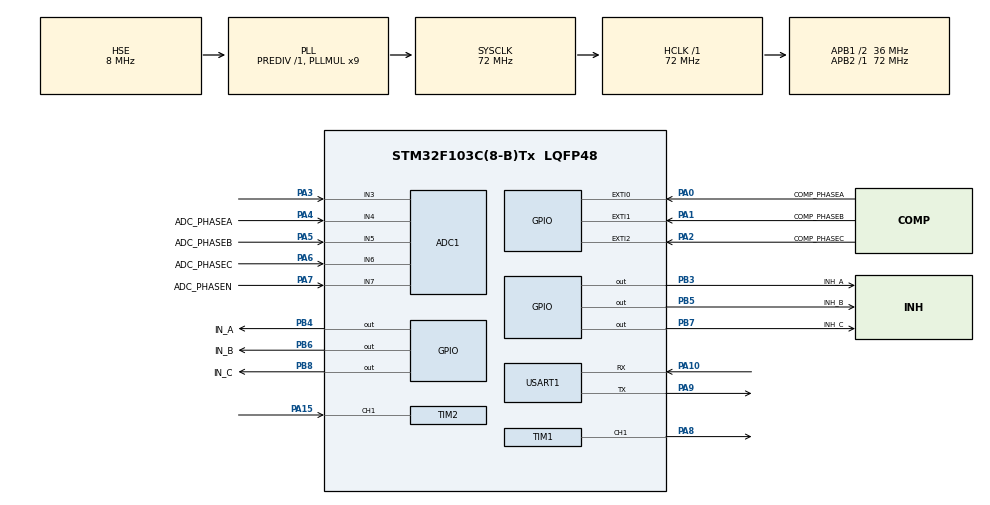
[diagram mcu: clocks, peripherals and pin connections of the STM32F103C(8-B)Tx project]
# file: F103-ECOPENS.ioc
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ADC1.Channel-3\#ChannelRegularConversion=ADC_CHANNEL_3
ADC1.ContinuousConvMode=ENABLE
ADC1.EnableAnalogWatchDog=false
ADC1.EnableInjectedConversion=ENABLE
ADC1.EnableRegularConversion=ENABLE
ADC1.InjNumberOfConversion=1
ADC1.NbrOfConversion=1
ADC1.NbrOfConversionFlag=1
ADC1.Rank-3\#ChannelRegularConversion=1
ADC1.SamplingTime-3\#ChannelRegularConversion=ADC_SAMPLETIME_1CYCLE_5
ADC1.master=1
Mcu.Family=STM32F1
Mcu.Name=STM32F103C(8-B)Tx
Mcu.Package=LQFP48
NVIC.ADC1_2_IRQn=true\:0\:0\:false\:false\:true\:true\:true
NVIC.EXTI0_IRQn=true\:0\:0\:false\:false\:true\:true\:true
NVIC.EXTI1_IRQn=true\:0\:0\:false\:false\:true\:true\:true
NVIC.EXTI2_IRQn=true\:0\:0\:false\:false\:true\:true\:true
NVIC.PriorityGroup=NVIC_PRIORITYGROUP_4
NVIC.TIM2_IRQn=true\:0\:0\:false\:false\:true\:true\:true
PA0-WKUP.GPIO_Label=COMP_PHASEA
PA0-WKUP.GPIO_ModeDefaultEXTI=GPIO_MODE_IT_RISING
PA0-WKUP.GPIO_PuPd=GPIO_PULLUP
PA0-WKUP.Signal=GPXTI0
PA1.GPIO_Label=COMP_PHASEB
PA1.GPIO_PuPd=GPIO_PULLUP
PA1.Signal=GPXTI1
PA10.Mode=Asynchronous
PA10.Signal=USART1_RX
PA15.Signal=S_TIM2_CH1_ETR
PA2.GPIO_Label=COMP_PHASEC
PA2.GPIO_PuPd=GPIO_PULLUP
PA2.Signal=GPXTI2
PA3.Signal=ADCx_IN3
PA4.GPIO_Label=ADC_PHASEA
PA4.Signal=ADCx_IN4
PA5.GPIO_Label=ADC_PHASEB
PA5.Signal=ADCx_IN5
PA6.GPIO_Label=ADC_PHASEC
PA6.Signal=ADCx_IN6
PA7.GPIO_Label=ADC_PHASEN
PA7.GPIO_Mode=GPIO_MODE_ANALOG
PA7.Signal=ADCx_IN7
PA8.Signal=S_TIM1_CH1
PA9.Mode=Asynchronous
PA9.Signal=USART1_TX
PB3.GPIO_Label=INH_A
PB3.Signal=GPIO_Output
PB4.GPIO_Label=IN_A
PB4.GPIO_ModeDefaultOutputPP=GPIO_MODE_OUTPUT_OD
PB4.GPIO_PuPd=GPIO_NOPULL
PB4.Signal=GPIO_Output
PB5.GPIO_Label=INH_B
PB5.Signal=GPIO_Output
PB6.GPIO_Label=IN_B
PB6.GPIO_ModeDefaultOutputPP=GPIO_MODE_OUTPUT_OD
PB6.Signal=GPIO_Output
PB7.GPIO_Label=INH_C
PB7.GPIO_ModeDefaultOutputPP=GPIO_MODE_OUTPUT_PP
PB7.GPIO_PuPd=GPIO_NOPULL
PB7.Signal=GPIO_Output
PB8.GPIO_Label=IN_C
PB8.GPIO_ModeDefaultOutputPP=GPIO_MODE_OUTPUT_OD
PB8.Signal=GPIO_Output
PD0-OSC_IN.Mode=HSE-External-Oscillator
PD0-OSC_IN.Signal=RCC_OSC_IN
PD1-OSC_OUT.Mode=HSE-External-Oscillator
PD1-OSC_OUT.Signal=RCC_OSC_OUT
ProjectManager.HeapSize=0x200
ProjectManager.StackSize=0x400
ProjectManager.TargetToolchain=STM32CubeIDE
RCC.ADCPresc=RCC_ADCPCLK2_DIV6
RCC.AHBFreq_Value=72000000
RCC.APB1CLKDivider=RCC_HCLK_DIV2
RCC.APB1Freq_Value=36000000
RCC.APB1TimFreq_Value=72000000
RCC.APB2Freq_Value=72000000
RCC.APB2TimFreq_Value=72000000
RCC.HCLKFreq_Value=72000000
RCC.PLLMUL=RCC_PLL_MUL9
RCC.PLLSourceVirtual=RCC_PLLSOURCE_HSE
RCC.SYSCLKFreq_VALUE=72000000
RCC.SYSCLKSource=RCC_SYSCLKSOURCE_PLLCLK
RCC.USBFreq_Value=72000000
SH.ADCx_IN3.0=ADC1_IN3,IN3
SH.ADCx_IN4.0=ADC1_IN4,IN4
SH.ADCx_IN5.0=ADC1_IN5,IN5
SH.ADCx_IN6.0=ADC1_IN6,IN6
SH.ADCx_IN7.0=ADC1_IN7,IN7
SH.S_TIM1_CH1.0=TIM1_CH1,PWM Generation1 CH1
SH.S_TIM2_CH1_ETR.0=TIM2_CH1,PWM_Input_1
TIM1.Channel-PWM\ Generation1\ CH1=TIM_CHANNEL_1
TIM1.Period=4800 - 1
TIM2.Prescaler=72 - 1
USART1.VirtualMode=VM_ASYNC
VP_SYS_VS_ND.Mode=No_Debug
VP_TIM1_VS_ClockSourceINT.Mode=Internal
VP_TIM2_VS_ClockSourceINT.Mode=Internal
board=custom

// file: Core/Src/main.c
/* USER CODE BEGIN Header */
/**
  ******************************************************************************
  * @file           : main.c
  * @brief          : Main program body
  ******************************************************************************
  * @attention
  *
  * <h2><center>&copy; Copyright (c) 2020 STMicroelectronics.
  * All rights reserved.</center></h2>
  *
  * This software component is licensed by ST under BSD 3-Clause license,
  * the "License"; You may not use this file except in compliance with the
  * License. You may obtain a copy of the License at:
  *                        opensource.org/licenses/BSD-3-Clause
  *
  ******************************************************************************
  */
/* USER CODE END Header */
#include "main.h"

/* USER CODE BEGIN Includes */
#include <stdbool.h>
/* USER CODE END Includes */

/* USER CODE BEGIN PTD */
typedef enum {
	PHASE_A, PHASE_B, PHASE_C
} PHASE;
/* USER CODE END PTD */

/* USER CODE BEGIN PD */
#define map(x,in_min,in_max,out_min,out_max) ( (x-in_min) * (out_max-out_min) / (in_max-in_min) + out_min )
#define constrain(nilaix,bawah,atas) ( (nilaix)<(bawah) ? (bawah) : ( (nilaix)>(atas) ? (atas) : (nilaix) ) )
#define FALLING 0
#define RISING 1
#define delaycomp for(int i=0; i<100; i++)
#define ADC_PHASE_A 1
#define ADC_PHASE_B 2
#define ADC_PHASE_C 3
#define ADC_NEUTRAL_POINT 4
/* USER CODE END PD */

ADC_HandleTypeDef hadc1;

TIM_HandleTypeDef htim1;
TIM_HandleTypeDef htim2;

UART_HandleTypeDef huart1;

/* USER CODE BEGIN PV */
uint16_t ADCVal[5];
uint32_t offsetValue = 2500;
//uint32_t integralBEMFA = 0, integralBEMFB = 0, integralBEMFC = 0;
static uint32_t integralBEMF = 0;
static uint8_t step = 1;
/* USER CODE END PV */

void SystemClock_Config(void);
static void MX_GPIO_Init(void);
static void MX_ADC1_Init(void);
static void MX_TIM1_Init(void);
static void MX_TIM2_Init(void);
static void MX_USART1_UART_Init(void);
/* USER CODE BEGIN PFP */
void outPWM(TIM_HandleTypeDef *htim, uint32_t channel, uint16_t dutyCycle){
	dutyCycle = map(dutyCycle, 0, 0xFFFF, 0, 4800 - 1);
	__HAL_TIM_SET_COMPARE(htim, channel, dutyCycle);
}

void startMotor(){
	//Align Mode
	outPWM(&htim1, TIM_CHANNEL_1, 0xBFFF);
	//phase a floating, phase b gnd, phase c pwm
	//CH->BL
	HAL_GPIO_WritePin(INH_C_GPIO_Port, INH_C_Pin, GPIO_PIN_SET); //INH_C is HIGH, IC Active Mode
	HAL_GPIO_WritePin(INH_A_GPIO_Port, INH_A_Pin, GPIO_PIN_RESET); //INH_A connected to ground, IC A Sleep Mode
	HAL_GPIO_WritePin(IN_B_GPIO_Port, IN_B_Pin, GPIO_PIN_SET); //IN_B connected to ground
	HAL_GPIO_WritePin(INH_B_GPIO_Port, INH_B_Pin, GPIO_PIN_SET); //INH_B is high, IC B Active Mode
	HAL_Delay(250);

	//phase a pwm, phase b gnd, phase c floating
	//AH->BL
	HAL_GPIO_WritePin(IN_A_GPIO_Port, IN_A_Pin, GPIO_PIN_RESET); //IN_A connected to ground, PWM Mode
	HAL_GPIO_WritePin(INH_A_GPIO_Port, INH_A_Pin, GPIO_PIN_SET); //INH_A is HIGH, IC A Active Mode
	HAL_GPIO_WritePin(INH_C_GPIO_Port, INH_C_Pin, GPIO_PIN_RESET); //INH_C connected to ground, IC C Sleep Mode
	HAL_Delay(250);
}
void detectZeroCross(PHASE phase, bool mode){
	//Initialize pin for external interrupt from comparator output
	static GPIO_InitTypeDef GPIO_InitStruct;
	GPIO_InitStruct.Mode = (mode == RISING ? GPIO_MODE_IT_RISING : GPIO_MODE_IT_FALLING); //Select Interrupt for back emf, rising or falling
	GPIO_InitStruct.Pin = (phase == PHASE_A ? COMP_PHASEA_Pin : phase == PHASE_B ? COMP_PHASEB_Pin : COMP_PHASEC_Pin);
	HAL_GPIO_Init(GPIOA, &GPIO_InitStruct);

	HAL_ADC_Stop_IT(&hadc1);
	static ADC_ChannelConfTypeDef sConfig;

	switch(phase){
	case PHASE_A:
		sConfig.Channel = ADC_CHANNEL_4;
		HAL_NVIC_DisableIRQ(COMP_PHASEB_EXTI_IRQn);
		HAL_NVIC_DisableIRQ(COMP_PHASEC_EXTI_IRQn);
		delaycomp;
		HAL_NVIC_EnableIRQ(COMP_PHASEA_EXTI_IRQn);
		break;

	case PHASE_B:
		sConfig.Channel = ADC_CHANNEL_5;
		HAL_NVIC_DisableIRQ(COMP_PHASEA_EXTI_IRQn);
		HAL_NVIC_DisableIRQ(COMP_PHASEC_EXTI_IRQn);
		delaycomp;
		HAL_NVIC_EnableIRQ(COMP_PHASEB_EXTI_IRQn);
		break;

	case PHASE_C:
		sConfig.Channel = ADC_CHANNEL_6;
		HAL_NVIC_DisableIRQ(COMP_PHASEA_EXTI_IRQn);
		HAL_NVIC_DisableIRQ(COMP_PHASEB_EXTI_IRQn);
		delaycomp;
		HAL_NVIC_EnableIRQ(COMP_PHASEC_EXTI_IRQn);
		break;
	}
	HAL_ADC_ConfigChannel(&hadc1, &sConfig);
}
void phase(int step){
	switch(step){
	//INH_X use open drain, SET = GND, RESET = FLOATING
	//IN_X use push pull, SET = HIGH, RESET = LOW
	case 1:
		//phase b floating, phase c ground, phase a pwm
		//AH->CL, B READ BACK EMF (RISING)
		HAL_GPIO_WritePin(INH_B_GPIO_Port, INH_B_Pin, GPIO_PIN_RESET); //INH_B connected to ground, IC B Sleep Mode
		HAL_GPIO_WritePin(IN_C_GPIO_Port, IN_C_Pin, GPIO_PIN_SET); //IN_C connected to ground
		HAL_GPIO_WritePin(INH_C_GPIO_Port, INH_C_Pin, GPIO_PIN_SET); //INH_C is high, IC C Active Mode
		detectZeroCross(PHASE_B, RISING);
		break;

	case 2:
		//phase a floating, phase b pwm, phase c ground
		//BH->CL, A READ BACK EMF (FALLING)
		HAL_GPIO_WritePin(INH_A_GPIO_Port, INH_A_Pin, GPIO_PIN_RESET); //INH_A connnected to ground, IC A Sleep Mode
		HAL_GPIO_WritePin(IN_B_GPIO_Port, IN_B_Pin, GPIO_PIN_RESET); //IN_B PWM Mode
		HAL_GPIO_WritePin(IN_B_GPIO_Port, INH_B_Pin, GPIO_PIN_SET); //INH_B high, IC B Active Mode
		detectZeroCross(PHASE_A, FALLING);
		break;

	case 3:
		//phase a gnd, phase b pwm, phase c floating
		//BH->AL, C READ BACK EMF (RISING)
		HAL_GPIO_WritePin(IN_A_GPIO_Port, IN_A_Pin, GPIO_PIN_SET); //IN_A connected to ground
		HAL_GPIO_WritePin(IN_A_GPIO_Port, INH_A_Pin, GPIO_PIN_SET); //INH_A is high, IC A Active Mode
		HAL_GPIO_WritePin(INH_C_GPIO_Port, INH_C_Pin, GPIO_PIN_RESET); //INH_C connected to ground. IC C Sleep Mode
		detectZeroCross(PHASE_C, RISING);
		break;

	case 4:
		//phase a gnd, phase b floating, phase c pwm
		//CH->AL, B READ BACK EMF (FALLING)
		HAL_GPIO_WritePin(INH_B_GPIO_Port, INH_B_Pin, GPIO_PIN_RESET); //INH_B connected to ground, IC B Sleep Mode
		HAL_GPIO_WritePin(IN_C_GPIO_Port, IN_C_Pin, GPIO_PIN_RESET); //IN_C floating, pwm mode
		HAL_GPIO_WritePin(INH_C_GPIO_Port, INH_C_Pin, GPIO_PIN_SET); //INH_C is high, IC C Active Mode
		detectZeroCross(PHASE_B, FALLING);
		break;
	case 5:
		//phase a floating, phase b gnd, phase c pwm
		//CH->BL, A READ BACK EMF (RISING)
		HAL_GPIO_WritePin(INH_A_GPIO_Port, INH_A_Pin, GPIO_PIN_RESET); //INH_A connected to ground, IC A Sleep Mode
		HAL_GPIO_WritePin(IN_B_GPIO_Port, IN_B_Pin, GPIO_PIN_SET); //IN_B connected to ground
		HAL_GPIO_WritePin(INH_B_GPIO_Port, INH_B_Pin, GPIO_PIN_SET); //INH_B is high, IC B Active Mode
		detectZeroCross(PHASE_A, RISING);
		break;

	case 6:
		//phase a pwm, phase b gnd, phase c floating
		//AH->BL, C READ BACK EMF (FALLING)
		HAL_GPIO_WritePin(IN_A_GPIO_Port, IN_A_Pin, GPIO_PIN_RESET); //IN_A connected to ground, PWM Mode
		HAL_GPIO_WritePin(INH_A_GPIO_Port, INH_A_Pin, GPIO_PIN_SET); //INH_A is HIGH, IC A Active Mode
		HAL_GPIO_WritePin(INH_C_GPIO_Port, INH_C_Pin, GPIO_PIN_RESET); //INH_C connected to ground, IC C Sleep Mode
		detectZeroCross(PHASE_C, FALLING);
		break;

	}
}
/* USER CODE END PFP */

int main(void)
{

  /* MCU Configuration--------------------------------------------------------*/

  /* Reset of all peripherals, Initializes the Flash interface and the Systick. */
  HAL_Init();

  /* Configure the system clock */
  SystemClock_Config();

  /* Initialize all configured peripherals */
  MX_GPIO_Init();
  MX_ADC1_Init();
  MX_TIM1_Init();
  MX_TIM2_Init();
  MX_USART1_UART_Init();
  /* USER CODE BEGIN 2 */
  HAL_NVIC_DisableIRQ(COMP_PHASEA_EXTI_IRQn);
  HAL_NVIC_DisableIRQ(COMP_PHASEB_EXTI_IRQn);
  HAL_NVIC_DisableIRQ(COMP_PHASEC_EXTI_IRQn);
  HAL_UART_Transmit(&huart1, "Mulai\r\n", 7, 10);
  HAL_TIM_PWM_Start(&htim1, TIM_CHANNEL_1);
  HAL_ADCEx_Calibration_Start(&hadc1);
  //HAL_ADC_Start_DMA(&hadc1, (uint32_t*)ADCVal, 5);
  startMotor();
  phase(step);
  /* USER CODE END 2 */

  /* Infinite loop */
  /* USER CODE BEGIN WHILE */
  while (1)
  {
	  if(integralBEMF >= offsetValue){
		  integralBEMF = 0;
		  step += 1;
		  if(step > 6) step = 1;
		  phase(step);
	  }
    /* USER CODE END WHILE */

  }
}

void SystemClock_Config(void)
{
  RCC_OscInitTypeDef RCC_OscInitStruct = {0};
  RCC_ClkInitTypeDef RCC_ClkInitStruct = {0};
  RCC_PeriphCLKInitTypeDef PeriphClkInit = {0};

  /** Initializes the RCC Oscillators according to the specified parameters
  * in the RCC_OscInitTypeDef structure.
  */
  RCC_OscInitStruct.OscillatorType = RCC_OSCILLATORTYPE_HSE;
  RCC_OscInitStruct.HSEState = RCC_HSE_ON;
  RCC_OscInitStruct.HSEPredivValue = RCC_HSE_PREDIV_DIV1;
  RCC_OscInitStruct.HSIState = RCC_HSI_ON;
  RCC_OscInitStruct.PLL.PLLState = RCC_PLL_ON;
  RCC_OscInitStruct.PLL.PLLSource = RCC_PLLSOURCE_HSE;
  RCC_OscInitStruct.PLL.PLLMUL = RCC_PLL_MUL9;
  if (HAL_RCC_OscConfig(&RCC_OscInitStruct) != HAL_OK)
  {
    Error_Handler();
  }
  /** Initializes the CPU, AHB and APB buses clocks
  */
  RCC_ClkInitStruct.ClockType = RCC_CLOCKTYPE_HCLK|RCC_CLOCKTYPE_SYSCLK
                              |RCC_CLOCKTYPE_PCLK1|RCC_CLOCKTYPE_PCLK2;
  RCC_ClkInitStruct.SYSCLKSource = RCC_SYSCLKSOURCE_PLLCLK;
  RCC_ClkInitStruct.AHBCLKDivider = RCC_SYSCLK_DIV1;
  RCC_ClkInitStruct.APB1CLKDivider = RCC_HCLK_DIV2;
  RCC_ClkInitStruct.APB2CLKDivider = RCC_HCLK_DIV1;

  if (HAL_RCC_ClockConfig(&RCC_ClkInitStruct, FLASH_LATENCY_2) != HAL_OK)
  {
    Error_Handler();
  }
  PeriphClkInit.PeriphClockSelection = RCC_PERIPHCLK_ADC;
  PeriphClkInit.AdcClockSelection = RCC_ADCPCLK2_DIV6;
  if (HAL_RCCEx_PeriphCLKConfig(&PeriphClkInit) != HAL_OK)
  {
    Error_Handler();
  }
}

static void MX_ADC1_Init(void)
{

  ADC_ChannelConfTypeDef sConfig = {0};

  /** Common config
  */
  hadc1.Instance = ADC1;
  hadc1.Init.ScanConvMode = ADC_SCAN_DISABLE;
  hadc1.Init.ContinuousConvMode = ENABLE;
  hadc1.Init.DiscontinuousConvMode = DISABLE;
  hadc1.Init.ExternalTrigConv = ADC_SOFTWARE_START;
  hadc1.Init.DataAlign = ADC_DATAALIGN_RIGHT;
  hadc1.Init.NbrOfConversion = 1;
  if (HAL_ADC_Init(&hadc1) != HAL_OK)
  {
    Error_Handler();
  }
  /** Configure Regular Channel
  */
  sConfig.Channel = ADC_CHANNEL_3;
  sConfig.Rank = ADC_REGULAR_RANK_1;
  sConfig.SamplingTime = ADC_SAMPLETIME_1CYCLE_5;
  if (HAL_ADC_ConfigChannel(&hadc1, &sConfig) != HAL_OK)
  {
    Error_Handler();
  }

}

static void MX_TIM1_Init(void)
{

  TIM_ClockConfigTypeDef sClockSourceConfig = {0};
  TIM_MasterConfigTypeDef sMasterConfig = {0};
  TIM_OC_InitTypeDef sConfigOC = {0};
  TIM_BreakDeadTimeConfigTypeDef sBreakDeadTimeConfig = {0};

  htim1.Instance = TIM1;
  htim1.Init.Prescaler = 0;
  htim1.Init.CounterMode = TIM_COUNTERMODE_UP;
  htim1.Init.Period = 4800 - 1;
  htim1.Init.ClockDivision = TIM_CLOCKDIVISION_DIV1;
  htim1.Init.RepetitionCounter = 0;
  htim1.Init.AutoReloadPreload = TIM_AUTORELOAD_PRELOAD_DISABLE;
  if (HAL_TIM_Base_Init(&htim1) != HAL_OK)
  {
    Error_Handler();
  }
  sClockSourceConfig.ClockSource = TIM_CLOCKSOURCE_INTERNAL;
  if (HAL_TIM_ConfigClockSource(&htim1, &sClockSourceConfig) != HAL_OK)
  {
    Error_Handler();
  }
  if (HAL_TIM_PWM_Init(&htim1) != HAL_OK)
  {
    Error_Handler();
  }
  sMasterConfig.MasterOutputTrigger = TIM_TRGO_RESET;
  sMasterConfig.MasterSlaveMode = TIM_MASTERSLAVEMODE_DISABLE;
  if (HAL_TIMEx_MasterConfigSynchronization(&htim1, &sMasterConfig) != HAL_OK)
  {
    Error_Handler();
  }
  sConfigOC.OCMode = TIM_OCMODE_PWM1;
  sConfigOC.Pulse = 0;
  sConfigOC.OCPolarity = TIM_OCPOLARITY_HIGH;
  sConfigOC.OCNPolarity = TIM_OCNPOLARITY_HIGH;
  sConfigOC.OCFastMode = TIM_OCFAST_DISABLE;
  sConfigOC.OCIdleState = TIM_OCIDLESTATE_RESET;
  sConfigOC.OCNIdleState = TIM_OCNIDLESTATE_RESET;
  if (HAL_TIM_PWM_ConfigChannel(&htim1, &sConfigOC, TIM_CHANNEL_1) != HAL_OK)
  {
    Error_Handler();
  }
  sBreakDeadTimeConfig.OffStateRunMode = TIM_OSSR_DISABLE;
  sBreakDeadTimeConfig.OffStateIDLEMode = TIM_OSSI_DISABLE;
  sBreakDeadTimeConfig.LockLevel = TIM_LOCKLEVEL_OFF;
  sBreakDeadTimeConfig.DeadTime = 0;
  sBreakDeadTimeConfig.BreakState = TIM_BREAK_DISABLE;
  sBreakDeadTimeConfig.BreakPolarity = TIM_BREAKPOLARITY_HIGH;
  sBreakDeadTimeConfig.AutomaticOutput = TIM_AUTOMATICOUTPUT_DISABLE;
  if (HAL_TIMEx_ConfigBreakDeadTime(&htim1, &sBreakDeadTimeConfig) != HAL_OK)
  {
    Error_Handler();
  }
  HAL_TIM_MspPostInit(&htim1);

}

static void MX_TIM2_Init(void)
{

  TIM_ClockConfigTypeDef sClockSourceConfig = {0};
  TIM_SlaveConfigTypeDef sSlaveConfig = {0};
  TIM_IC_InitTypeDef sConfigIC = {0};
  TIM_MasterConfigTypeDef sMasterConfig = {0};

  htim2.Instance = TIM2;
  htim2.Init.Prescaler = 72 - 1;
  htim2.Init.CounterMode = TIM_COUNTERMODE_UP;
  htim2.Init.Period = 65535;
  htim2.Init.ClockDivision = TIM_CLOCKDIVISION_DIV1;
  htim2.Init.AutoReloadPreload = TIM_AUTORELOAD_PRELOAD_DISABLE;
  if (HAL_TIM_Base_Init(&htim2) != HAL_OK)
  {
    Error_Handler();
  }
  sClockSourceConfig.ClockSource = TIM_CLOCKSOURCE_INTERNAL;
  if (HAL_TIM_ConfigClockSource(&htim2, &sClockSourceConfig) != HAL_OK)
  {
    Error_Handler();
  }
  if (HAL_TIM_IC_Init(&htim2) != HAL_OK)
  {
    Error_Handler();
  }
  sSlaveConfig.SlaveMode = TIM_SLAVEMODE_RESET;
  sSlaveConfig.InputTrigger = TIM_TS_TI1FP1;
  sSlaveConfig.TriggerPolarity = TIM_INPUTCHANNELPOLARITY_RISING;
  sSlaveConfig.TriggerPrescaler = TIM_ICPSC_DIV1;
  sSlaveConfig.TriggerFilter = 0;
  if (HAL_TIM_SlaveConfigSynchro(&htim2, &sSlaveConfig) != HAL_OK)
  {
    Error_Handler();
  }
  sConfigIC.ICPolarity = TIM_INPUTCHANNELPOLARITY_RISING;
  sConfigIC.ICSelection = TIM_ICSELECTION_DIRECTTI;
  sConfigIC.ICPrescaler = TIM_ICPSC_DIV1;
  sConfigIC.ICFilter = 0;
  if (HAL_TIM_IC_ConfigChannel(&htim2, &sConfigIC, TIM_CHANNEL_1) != HAL_OK)
  {
    Error_Handler();
  }
  sConfigIC.ICPolarity = TIM_INPUTCHANNELPOLARITY_FALLING;
  sConfigIC.ICSelection = TIM_ICSELECTION_INDIRECTTI;
  if (HAL_TIM_IC_ConfigChannel(&htim2, &sConfigIC, TIM_CHANNEL_2) != HAL_OK)
  {
    Error_Handler();
  }
  sMasterConfig.MasterOutputTrigger = TIM_TRGO_RESET;
  sMasterConfig.MasterSlaveMode = TIM_MASTERSLAVEMODE_DISABLE;
  if (HAL_TIMEx_MasterConfigSynchronization(&htim2, &sMasterConfig) != HAL_OK)
  {
    Error_Handler();
  }

}

static void MX_USART1_UART_Init(void)
{

  huart1.Instance = USART1;
  huart1.Init.BaudRate = 115200;
  huart1.Init.WordLength = UART_WORDLENGTH_8B;
  huart1.Init.StopBits = UART_STOPBITS_1;
  huart1.Init.Parity = UART_PARITY_NONE;
  huart1.Init.Mode = UART_MODE_TX_RX;
  huart1.Init.HwFlowCtl = UART_HWCONTROL_NONE;
  huart1.Init.OverSampling = UART_OVERSAMPLING_16;
  if (HAL_UART_Init(&huart1) != HAL_OK)
  {
    Error_Handler();
  }

}

static void MX_GPIO_Init(void)
{
  GPIO_InitTypeDef GPIO_InitStruct = {0};

  /* GPIO Ports Clock Enable */
  __HAL_RCC_GPIOD_CLK_ENABLE();
  __HAL_RCC_GPIOA_CLK_ENABLE();
  __HAL_RCC_GPIOB_CLK_ENABLE();

  /*Configure GPIO pin Output Level */
  HAL_GPIO_WritePin(GPIOB, INH_A_Pin|IN_A_Pin|INH_B_Pin|IN_B_Pin
                          |INH_C_Pin|IN_C_Pin, GPIO_PIN_RESET);

  /*Configure GPIO pins : COMP_PHASEA_Pin COMP_PHASEB_Pin COMP_PHASEC_Pin */
  GPIO_InitStruct.Pin = COMP_PHASEA_Pin|COMP_PHASEB_Pin|COMP_PHASEC_Pin;
  GPIO_InitStruct.Mode = GPIO_MODE_IT_RISING;
  GPIO_InitStruct.Pull = GPIO_PULLUP;
  HAL_GPIO_Init(GPIOA, &GPIO_InitStruct);

  /*Configure GPIO pins : INH_A_Pin INH_B_Pin INH_C_Pin */
  GPIO_InitStruct.Pin = INH_A_Pin|INH_B_Pin|INH_C_Pin;
  GPIO_InitStruct.Mode = GPIO_MODE_OUTPUT_PP;
  GPIO_InitStruct.Pull = GPIO_NOPULL;
  GPIO_InitStruct.Speed = GPIO_SPEED_FREQ_LOW;
  HAL_GPIO_Init(GPIOB, &GPIO_InitStruct);

  /*Configure GPIO pins : IN_A_Pin IN_B_Pin IN_C_Pin */
  GPIO_InitStruct.Pin = IN_A_Pin|IN_B_Pin|IN_C_Pin;
  GPIO_InitStruct.Mode = GPIO_MODE_OUTPUT_OD;
  GPIO_InitStruct.Pull = GPIO_NOPULL;
  GPIO_InitStruct.Speed = GPIO_SPEED_FREQ_LOW;
  HAL_GPIO_Init(GPIOB, &GPIO_InitStruct);

  /* EXTI interrupt init*/
  HAL_NVIC_SetPriority(EXTI0_IRQn, 0, 0);
  HAL_NVIC_EnableIRQ(EXTI0_IRQn);

  HAL_NVIC_SetPriority(EXTI1_IRQn, 0, 0);
  HAL_NVIC_EnableIRQ(EXTI1_IRQn);

  HAL_NVIC_SetPriority(EXTI2_IRQn, 0, 0);
  HAL_NVIC_EnableIRQ(EXTI2_IRQn);

}

/* USER CODE BEGIN 4 */
void HAL_GPIO_EXTI_Callback(uint16_t GPIO_Pin){
	/*if(GPIO_Pin == COMP_PHASEA_Pin){
		//HAL_ADC_Start_DMA(&hadc1, (uint32_t)&ADCVal[ADC_PHASE_A], 1);

	}
	else if(GPIO_Pin == COMP_PHASEB_Pin){
		//HAL_ADC_Start_DMA(&hadc1, (uint32_t)&ADCVal[ADC_PHASE_B], 1);
	}
	else if(GPIO_Pin == COMP_PHASEC_Pin){
		//HAL_ADC_Start_DMA(&hadc1, (uint32_t)&ADCVal[ADC_PHASE_C], 1);
	}*/

	HAL_ADC_Start_IT(&hadc1);
}

void HAL_ADC_ConvCpltCallback(ADC_HandleTypeDef* hadc){
	//integralBEMFA += HAL_ADC_GetValue(&hadc1);
	//(bemf_phase == PHASE_A ? integralBEMFA : bemf_phase == PHASE_B ? integralBEMFB : integralBEMFC) += HAL_ADC_GetValue(&hadc1);
	integralBEMF += HAL_ADC_GetValue(&hadc1);
}
/* USER CODE END 4 */

void Error_Handler(void)
{
}

/************************ (C) COPYRIGHT STMicroelectronics *****END OF FILE****/
